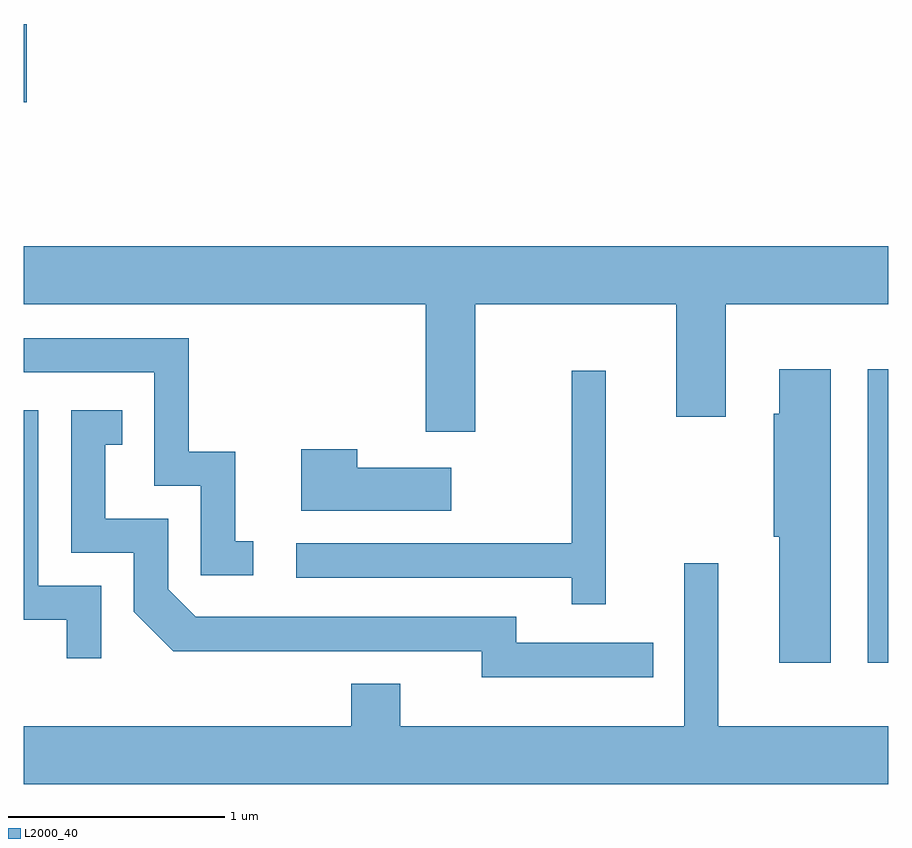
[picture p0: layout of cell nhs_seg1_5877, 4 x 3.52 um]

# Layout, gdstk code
import gdstk
lib = gdstk.Library(unit=1e-6, precision=1e-09)
def R(c, l, rs):  # rectangles x0, y0, x1, y1
    for r in rs: c.add(gdstk.rectangle(r[:2], r[2:], *l))
def P(c, l, *ps):  # polygons
    for p in ps: c.add(gdstk.Polygon(p, *l))
L2000_40 = (2000, 40)

nhs_seg1_5877 = lib.new_cell('nhs_seg1_5877')
R(nhs_seg1_5877, L2000_40, [(365.516,946.756,365.611,948.114), (361.611,949.351,361.624,949.712)])
P(nhs_seg1_5877, L2000_40, [(363.699,948.416),(364.631,948.416),(364.631,947.896),(364.859,947.896),(364.859,948.416),(365.611,948.416),(365.611,948.684),(361.611,948.684),(361.611,948.416),(363.471,948.416),(363.471,947.826),(363.699,947.826)],
  [(362.673,947.319),(362.589,947.319),(362.589,947.734),(362.374,947.734),(362.374,948.259),(361.611,948.259),(361.611,948.101),(362.216,948.101),(362.216,947.576),(362.431,947.576),(362.431,947.161),(362.673,947.161)],
  [(365.344,948.114),(365.106,948.114),(365.106,947.909),(365.081,947.909),(365.081,947.341),(365.106,947.341),(365.106,946.756),(365.344,946.756)],
  [(364.304,948.108),(364.146,948.108),(364.146,947.309),(362.873,947.309),(362.873,947.151),(364.146,947.151),(364.146,947.028),(364.304,947.028)],
  [(361.969,947.114),(361.679,947.114),(361.679,947.924),(361.611,947.924),(361.611,946.956),(361.811,946.956),(361.811,946.778),(361.969,946.778)],
  [(364.523,946.849),(363.889,946.849),(363.889,946.969),(362.407,946.969),(362.279,947.097),(362.279,947.424),(361.989,947.424),(361.989,947.766),(362.068,947.766),(362.068,947.924),(361.831,947.924),(361.831,947.266),(362.121,947.266),(362.121,946.994),(362.304,946.811),(363.731,946.811),(363.731,946.691),(364.523,946.691)],
  [(363.589,947.659),(363.154,947.659),(363.154,947.744),(362.896,947.744),(362.896,947.461),(363.589,947.461)],
  [(365.611,946.464),(364.824,946.464),(364.824,947.218),(364.666,947.218),(364.666,946.464),(363.354,946.464),(363.354,946.659),(363.126,946.659),(363.126,946.464),(361.611,946.464),(361.611,946.196),(365.611,946.196)])

lib.write_gds('nhs_seg1_5877.gds')
